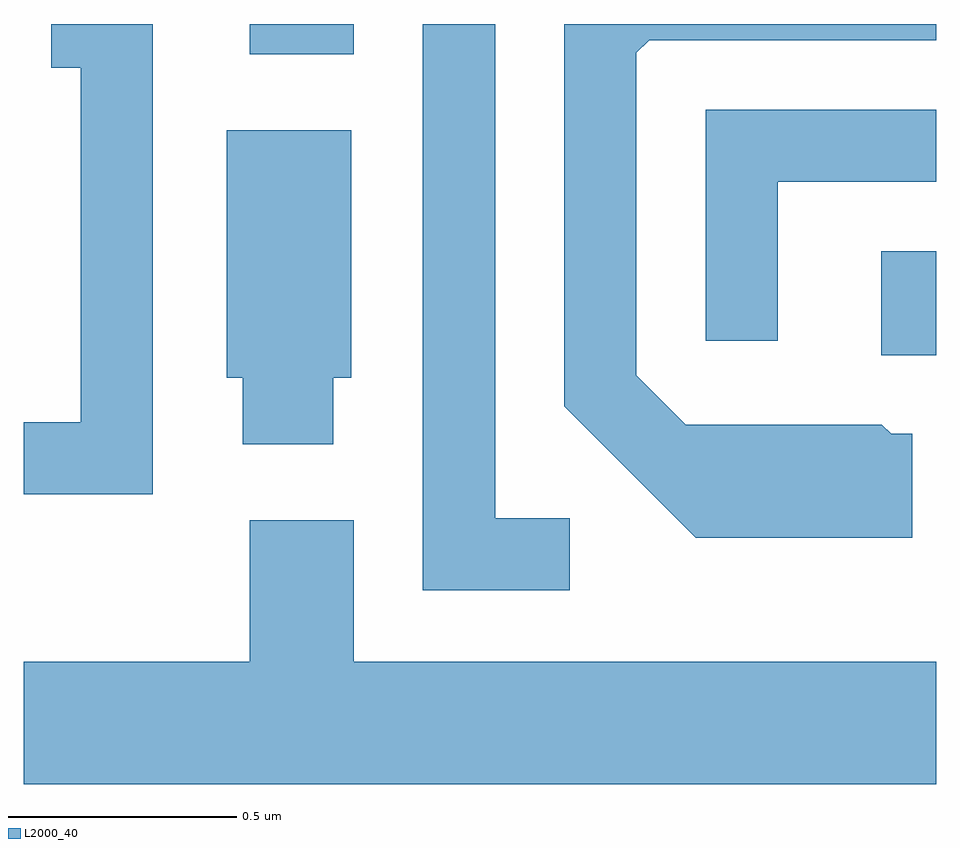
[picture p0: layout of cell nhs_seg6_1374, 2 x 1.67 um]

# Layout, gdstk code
import gdstk
lib = gdstk.Library(unit=1e-6, precision=1e-09)
def R(c, l, rs):  # rectangles x0, y0, x1, y1
    for r in rs: c.add(gdstk.rectangle(r[:2], r[2:], *l))
def P(c, l, *ps):  # polygons
    for p in ps: c.add(gdstk.Polygon(p, *l))
L2000_40 = (2000, 40)

nhs_seg6_1374 = lib.new_cell('nhs_seg6_1374')
R(nhs_seg6_1374, L2000_40, [(197.491,1535.436,197.611,1535.664), (196.106,1536.096,196.334,1536.162)])
P(nhs_seg6_1374, L2000_40, [(195.894,1536.162),(195.671,1536.162),(195.671,1536.066),(195.736,1536.066),(195.736,1535.289),(195.611,1535.289),(195.611,1535.131),(195.894,1535.131)],
  [(196.808,1535.079),(196.644,1535.079),(196.644,1536.162),(196.486,1536.162),(196.486,1534.921),(196.808,1534.921)],
  [(197.559,1535.264),(197.512,1535.264),(197.492,1535.284),(197.062,1535.284),(196.954,1535.392),(196.954,1536.099),(196.982,1536.126),(197.611,1536.126),(197.611,1536.162),(196.796,1536.162),(196.796,1535.324),(197.084,1535.036),(197.559,1535.036)],
  [(197.264,1535.816),(197.611,1535.816),(197.611,1535.974),(197.106,1535.974),(197.106,1535.468),(197.264,1535.468)],
  [(196.289,1535.386),(196.329,1535.386),(196.329,1535.929),(196.056,1535.929),(196.056,1535.386),(196.091,1535.386),(196.091,1535.241),(196.289,1535.241)],
  [(197.611,1534.764),(196.334,1534.764),(196.334,1535.074),(196.106,1535.074),(196.106,1534.764),(195.611,1534.764),(195.611,1534.496),(197.611,1534.496)])

lib.write_gds('nhs_seg6_1374.gds')
